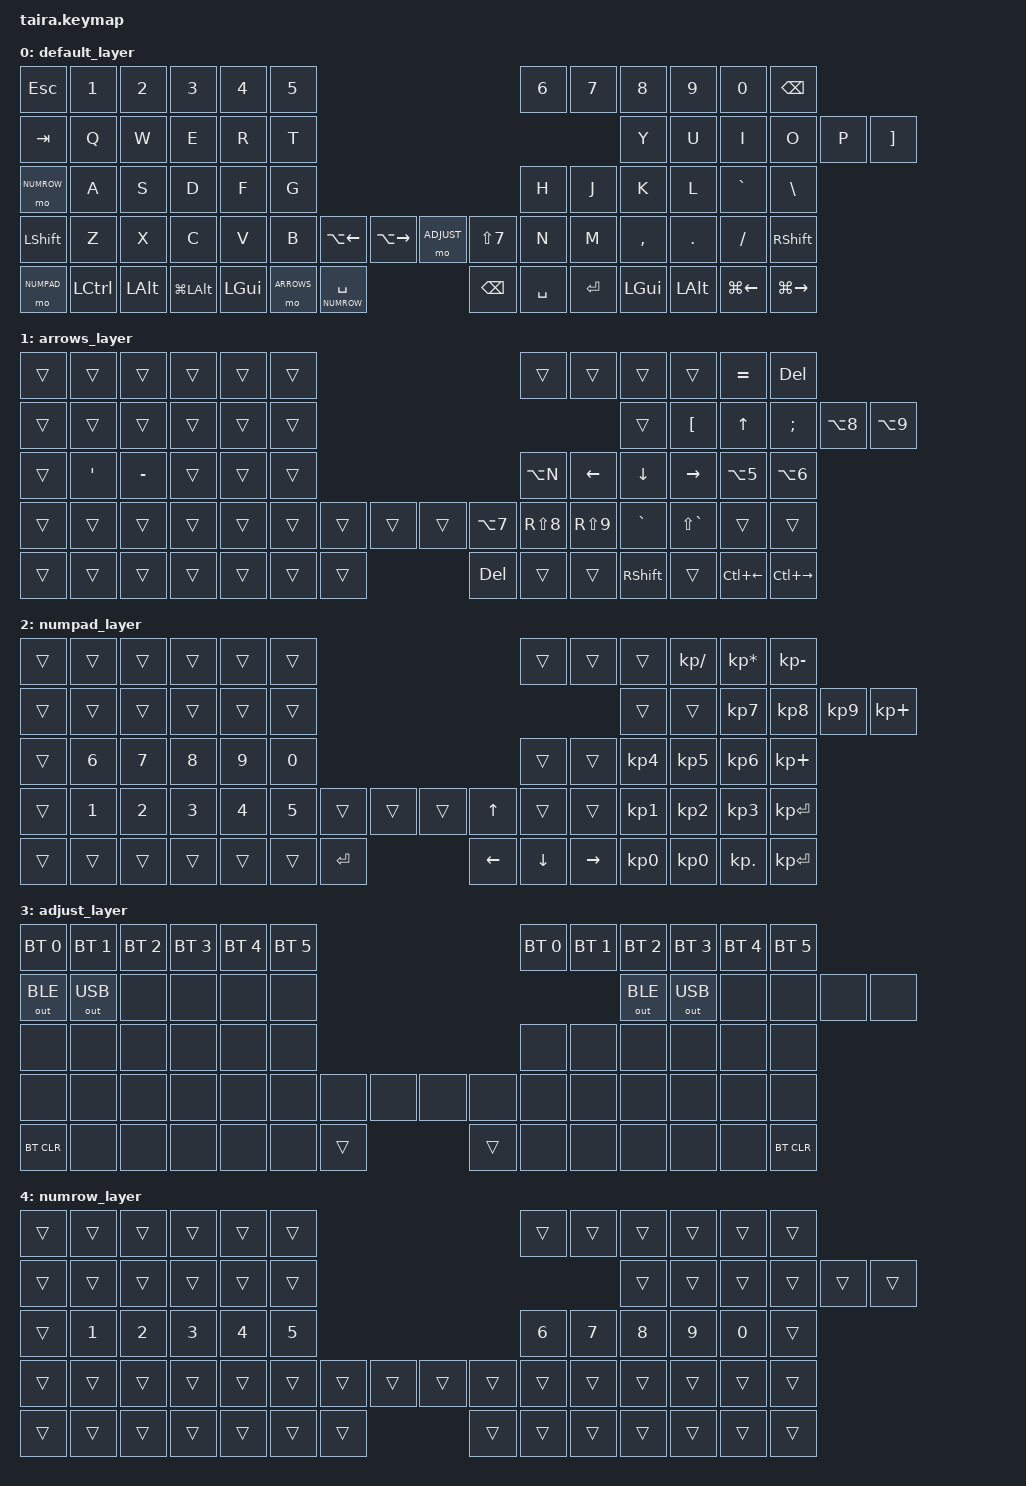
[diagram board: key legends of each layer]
/*
 * Copyright (c) 2020 The ZMK Contributors
 *
 * SPDX-License-Identifier: MIT
 */

#include <behaviors.dtsi>
#include <dt-bindings/zmk/keys.h>
#include <dt-bindings/zmk/outputs.h>
#include <dt-bindings/zmk/bt.h>

#define DEFAULT 0
#define ARROWS   1
#define NUMPAD   2
#define ADJUST   3
#define NUMROW   4


/ {

        

        keymap {
                compatible = "zmk,keymap";


                default_layer {
/* QWERTY
 * .----------------------------------------------------------------------------------------------------------------------------------.
 * | Esc  |   1  |   2  |   3  |   4  |   5  |                                              |   6  |   7  |   8  |   9  |   0  | BkSp |
 * |-------------+------+------+------+------+------+------+-------+-+-------+-------+------+------+------+------+------+------+------|
 * | Tab  |   Q  |   W  |   E  |   R  |   T  |                                              |   Z  |   U  |   I  |   O  |   P  |  +   |
 * |-------------+------+------+------+------+------+------+-------+-+-------+-------+------+------+------+------+------+------+------|
 * |Arrows|   A  |   S  |   D  |   F  |   G  |                                              |   H  |   J  |   K  |   L  |   <  |  #   |
 * |-------------+------+------+------+------+------+------+-------+-+-------+-------+------+------+------+------+------+------+------|
 * | Shift|   Y  |   X  |   C  |   V  |   B  |      |LA(Lft)|LA(Rgt)||Adjust |   /   |      |   N  |   M  |   ,  |   .  |   -  | Shift|
 * |-------------+------+------+------+------+------+------+-------+-+-------+-------+------+------+------+------+------+------+------|
 * |Numpad| Ctrl | Alt  | Meta |             | Meta |Arrows|Space  | | BSPC | Space | Enter |             | Meta | Alt |LG(Lft)|LG(Rgt)|
 * .----------------------------------------------------------------------------------------------------------------------------------.
 */
                        bindings = <
&kp  ESC    &kp  N1    &kp  N2     &kp  N3     &kp  N4    &kp  N5                                                                        &kp  N6  &kp  N7    &kp  N8     &kp  N9    &kp  N0       &kp  BSPC
&kp  TAB      &kp  Q     &kp  W      &kp  E      &kp  R     &kp  T                                                                         &kp  Y   &kp  U     &kp  I      &kp  O     &kp  P        &kp  RBKT
&mo  NUMROW &kp  A     &kp  S      &kp  D      &kp  F     &kp  G                                                                         &kp  H   &kp  J     &kp  K      &kp  L     &kp  GRAVE     &kp  BSLH
&kp  LSHFT    &kp  Z     &kp  X      &kp  C      &kp  V     &kp  B             &kp  LA(LEFT)    &kp  LA(RIGHT)    &mo  ADJUST  &kp  LS(N7)             &kp  N   &kp  M     &kp  COMMA  &kp  DOT   &kp  SLASH    &kp  RSHFT
&mo  NUMPAD  &kp LCTRL   &kp  LALT  &kp  LG(LALT)                    &kp LGUI &mo  ARROWS  &lt NUMROW SPACE   &kp  BSPC  &kp  SPACE &kp  ENTER          &kp  LGUI   &kp  LALT  &kp  LG(LEFT)       &kp  LG(RIGHT)
                        >;
                };

                arrows_layer {
/* QWERTY
 * .----------------------------------------------------------------------------------------------------------------------------------.
 * | Esc  |   1  |   2  |   3  |   4  |   5  |                                              |   6  |   7  |   8  |   9  |  ´ ` |  Del |
 * |-------------+------+------+------+------+------+------+-------+-+-------+-------+------+------+------+------+------+------+------|
 * | Tab  |   Q  |   W  |   E  |   R  |   T  |                                              |   Z  |   Ü  |  UP  |   Ö  |   {  |  }   |
 * |-------------+------+------+------+------+------+------+-------+-+-------+-------+------+------+------+------+------+------+------|
 * |Arrows|   Ä  |   ß  |   D  |   F  |   G  |                                              |   ~  | Left | Down |Right |   [  |  ]   |
 * |-------------+------+------+------+------+------+------+-------+-+-------+-------+------+------+------+------+------+------+------|
 * | Shift|   Y  |   X  |   C  |   V  |   B  |      |La(Lft)|La(Rgt)||Adjust |              |   (  |   )  |   <  |   >  |   -  | Shift|
 * |-------------+------+------+------+------+------+------+-------+-+-------+-------+------+------+------+------+------+------+------|
 * |Numpad| Ctrl | Alt  | Meta |             | Meta | Arrows| Space | |BSPC | Space | Enter |             | Meta | Alt  |LG(Lft)|LG(Rgt)|
 * .----------------------------------------------------------------------------------------------------------------------------------.
 */
                        bindings = <
&trans          &trans &trans &trans &trans &trans                                                                                               &trans	&trans	&trans	&trans	&kp EQUAL &kp DEL
&trans          &trans &trans &trans &trans &trans                                                                                              &trans  &kp LBKT &kp UP &kp SEMI  &kp LA(N8) &kp  LA(N9)
&trans          &kp SQT &kp MINUS &trans &trans &trans                                                                                          &kp LA(N)  &kp LEFT &kp DOWN &kp RIGHT  &kp LA(N5) &kp  LA(N6)   
&trans          &trans    &trans    &trans   &trans   &trans          &trans       &trans   &trans        &kp  LA(N7)                    &kp RS(N8)   &kp RS(N9)   &kp GRAVE    &kp LS(GRAVE)   &trans    &trans
&trans         &trans       &trans       &trans               &trans    &trans     &trans       &kp DEL       &trans    &trans           &kp RSHFT      &trans     &kp LC(LEFT)        &kp LC(RIGHT)
                        >;
                };

                numpad_layer {
/* QWERTY
 * .----------------------------------------------------------------------------------------------------------------------------------.
 * | Esc   |   1  |   2  |   3  |   4  |   5  |                                             |   6  |   7  |   8  |   /  |  *   |  -   |
 * |-------------+------+------+------+------+------+------+-------+-+-------+-------+------+------+------+------+------+------+------|
 * | Tab  |   Q  |   W  |   E  |   R  |   T  |                                              |   Z  |   U  |   7  |   O  |   P  |  +   |
 * |-------------+------+------+------+------+------+------+-------+-+-------+-------+------+------+------+------+------+------+------|
 * |Arrows|   6  |   7  |   8  |   9  |   0  |                                              |   H  |   J  |   4  |   5  |   6  |  +   |
 * |-------------+------+------+------+------+------+------+-------+-+-------+-------+------+------+------+------+------+------+------|
 * | Shift|   1  |   2  |   3  |   4  |   5  |      |La(Lft)|La(Rgt)||Adjust | Up    |      |   N  |   M  |   1  |   2  |   3  | Enter|
 * |-------------+------+------+------+------+------+------+-------+-+-------+-------+------+------+------+------+------+------+------|
 * |Numpad| Ctrl  | Alt | Meta  |             | Meta |Arrows| Space| | Left  | Down | Right |             |   0  |   0  |  ,   | Enter|
 * .----------------------------------------------------------------------------------------------------------------------------------.
 */
                        bindings = <
&trans          &trans &trans &trans &trans &trans                                                                                               &trans	&trans	&trans	&kp KP_SLASH &kp KP_ASTERISK &kp KP_MINUS
&trans          &trans &trans &trans &trans &trans                                                                                              &trans  &trans &kp KP_N7 &kp KP_N8 &kp KP_N9 &kp KP_PLUS
&trans          &kp  N6  &kp  N7    &kp  N8     &kp  N9    &kp  N0                                                                                          &trans  &trans &kp KP_N4 &kp KP_N5 &kp KP_N6 &kp KP_PLUS  
&trans          &kp  N1    &kp  N2     &kp  N3     &kp  N4    &kp  N5          &trans       &trans         &trans       &kp UP                 &trans  &trans &kp KP_N1 &kp KP_N2 &kp KP_N3 &kp KP_ENTER
&trans         &trans       &trans       &trans               &trans    &trans     &kp ENTER        &kp LEFT      &kp DOWN    &kp RIGHT         &kp KP_N0 &kp KP_N0 &kp KP_DOT &kp KP_ENTER
                        >;
                };

				
                
                adjust_layer {
/* QWERTY
 * .----------------------------------------------------------------------------------------------------------------------------------.
 * | BT 0 | BT 1 | BT 2 | BR 3 | BT 4 | BT 5 |                                              | BT 0 | BT 1 | BT 2 | BT 3 | BT 4 | BT 5 |
 * |-------------+------+------+------+------+------+------+-------+-+-------+-------+------+------+------+------+------+------+------|
 * | BLE  | USB  |   W  |   E  |   R  |   T  |                                              |  BLE | USB |   I  |   O  |   P  |  \   |
 * |-------------+------+------+------+------+------+------+-------+-+-------+-------+------+------+------+------+------+------+------|
 * | Tab  |   A  |   S  |   D  |   F  |   G  |                                              |   H  |   J  |   K  |   L  |   ;  |  '   |
 * |-------------+------+------+------+------+------+------+-------+-+-------+-------+------+------+------+------+------+------+------|
 * | Shift|   Y  |   X  |   C  |   V  |   B  |      | Del  | PGDN  | | PGUP  | Home  |      |   N  |   M  |   ,  |   .  |   /  | Shift|
 * |-------------+------+------+------+------+------+------+-------+-+-------+-------+------+------+------+------+------+------+------|
 * |BT Clr| Alt  | Meta | Alt  |             | Meta | Space| Lower | | Raise | Enter | RAlt |             | LEFT | DOWN | UP   |BR Clr|
 * .----------------------------------------------------------------------------------------------------------------------------------.
 */
                        bindings = <
&bt BT_SEL 0 &bt BT_SEL 1 &bt BT_SEL 2 &bt BT_SEL 3 &bt BT_SEL 4 &bt BT_SEL 5                                                                          &bt BT_SEL 0 &bt BT_SEL 1 &bt BT_SEL 2 &bt BT_SEL 3 &bt BT_SEL 4 &bt BT_SEL 5
&out OUT_BLE &out OUT_USB        &none        &none        &none        &none                                                                                 &out OUT_BLE        &out OUT_USB        &none        &none        &none    &none
&none        &none        &none        &none        &none        &none                                                                             &none        &none        &none        &none        &none        &none
&none        &none        &none        &none        &none        &none                     &none       &none         &none       &none                 &none        &none        &none        &none        &none        &none
&bt BT_CLR   &none        &none        &none                                     &none     &none       &trans        &trans      &none     &none                                 &none        &none        &none        &bt BT_CLR
                        >;
                };

/* A layer to have all numbers where the fingers lay anyway. I use numbers A LOT. */

		numrow_layer {
/* QWERTY
 * .----------------------------------------------------------------------------------------------------------------------------------.
 * |  `   |   1  |   2  |   3  |   4  |   5  |                                              |   6  |   7  |   8  |   9  |   0  | PScr |
 * |-------------+------+------+------+------+------+------+-------+-+-------+-------+------+------+------+------+------+------+------|
 * | ESC  |   Q  |   W  |   E  |   R  |   T  |                                              |   Y  |   U  |   I  |   O  |   P  |  \   |
 * |-------------+------+------+------+------+------+------+-------+-+-------+-------+------+------+------+------+------+------+------|
 * | Tab  |   A  |   S  |   D  |   F  |   G  |                                              |   H  |   J  |   K  |   L  |   ;  |  '   |
 * |-------------+------+------+------+------+------+------+-------+-+-------+-------+------+------+------+------+------+------+------|
 * | Shift|   Z  |   X  |   C  |   V  |   B  |      | Del  | PGDN  | | PGUP  | Home  |      |   N  |   M  |   ,  |   .  |   /  | Shift|
 * |-------------+------+------+------+------+------+------+-------+-+-------+-------+------+------+------+------+------+------+------|
 * | Ctrl | Alt  | Meta | Alt  |             | Meta | Space| Lower | | Raise | Enter | RAlt |             | LEFT | DOWN | UP   | RIGHT|
 * .----------------------------------------------------------------------------------------------------------------------------------.
 */
                        bindings = <
&trans          &trans &trans &trans &trans &trans                                                                                              &trans          &trans &trans &trans &trans &trans
&trans          &trans &trans &trans &trans &trans                                                                                              &trans          &trans &trans &trans &trans &trans
&trans          &kp N1	&kp N2	&kp N3	&kp N4	&kp N5												&kp N6	&kp N7	&kp N8	&kp N9	&kp N0	&trans
&trans          &trans    &trans    &trans   &trans   &trans          &trans       &trans         &trans       &trans                     &trans  &trans &trans &trans &trans &trans
&trans         &trans       &trans       &trans               &trans    &trans     &trans          &trans      &trans      &trans                       &trans &trans &trans &trans
                        >;
                };

        };
};


/*
example_layer {
* QWERTY
 * .----------------------------------------------------------------------------------------------------------------------------------.
 * |  `   |   1  |   2  |   3  |   4  |   5  |                                              |   6  |   7  |   8  |   9  |   0  | PScr |
 * |-------------+------+------+------+------+------+------+-------+-+-------+-------+------+------+------+------+------+------+------|
 * | ESC  |   Q  |   W  |   E  |   R  |   T  |                                              |   Y  |   U  |   I  |   O  |   P  |  \   |
 * |-------------+------+------+------+------+------+------+-------+-+-------+-------+------+------+------+------+------+------+------|
 * | Tab  |   A  |   S  |   D  |   F  |   G  |                                              |   H  |   J  |   K  |   L  |   ;  |  '   |
 * |-------------+------+------+------+------+------+------+-------+-+-------+-------+------+------+------+------+------+------+------|
 * | Shift|   Z  |   X  |   C  |   V  |   B  |      | Del  | PGDN  | | PGUP  | Home  |      |   N  |   M  |   ,  |   .  |   /  | Shift|
 * |-------------+------+------+------+------+------+------+-------+-+-------+-------+------+------+------+------+------+------+------|
 * | Ctrl | Alt  | Meta | Alt  |             | Meta | Space| Lower | | Raise | Enter | RAlt |             | LEFT | DOWN | UP   | RIGHT|
 * .----------------------------------------------------------------------------------------------------------------------------------.
 *
                        bindings = <
&trans          &trans &trans &trans &trans &trans                                                                                              &trans          &trans &trans &trans &trans &trans
&trans          &trans &trans &trans &trans &trans                                                                                              &trans          &trans &trans &trans &trans &trans
&trans          &trans &trans &trans &trans &trans                                                                                          &trans          &trans &trans &trans &trans &trans
&trans          &trans    &trans    &trans   &trans   &trans          &trans       &trans         &trans       &trans                     &trans  &trans &trans &trans &trans &trans
&trans         &trans       &trans       &trans               &trans    &trans     &trans          &trans      &trans      &trans                       &trans &trans &trans &trans
                        >;
                };
*/
